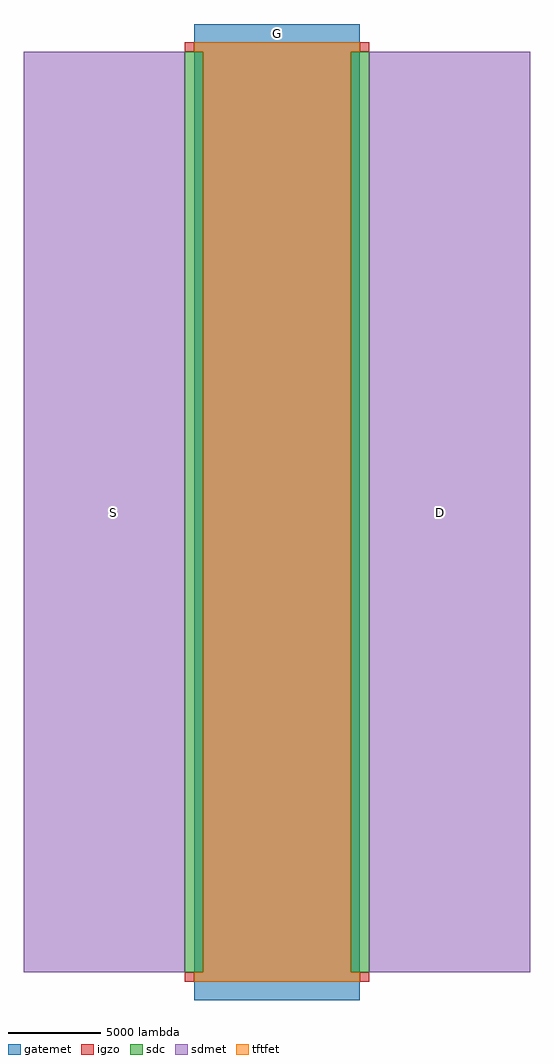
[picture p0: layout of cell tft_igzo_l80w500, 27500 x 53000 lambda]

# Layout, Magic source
magic
tech igzo_mmm_lab
<< igzo >>
rect -5000 25000 -4500 25500
rect 4500 25000 5000 25500
rect -5000 -25500 -4500 -25000
rect 4500 -25500 5000 -25000
<< tftfet >>
rect -4500 25000 4500 25500
rect -4000 -25000 4000 25000
rect -4500 -25500 4500 -25000
<< sdc >>
rect -5000 -25000 -4000 25000
rect 4000 -25000 5000 25000
<< sdmet >>
rect -13750 -25000 -5000 25000
rect 5000 -25000 13750 25000
<< gatemet >>
rect -4500 -26500 4500 26500
<< labels >>
rlabel sdmet s -9363 -488 -8387 488 4 S
port 3 nsew
rlabel sdmet s 8387 -488 9363 488 4 D
port 5 nsew
rlabel gatemet s -488 25512 488 26488 4 G
port 7 nsew
<< end >>
